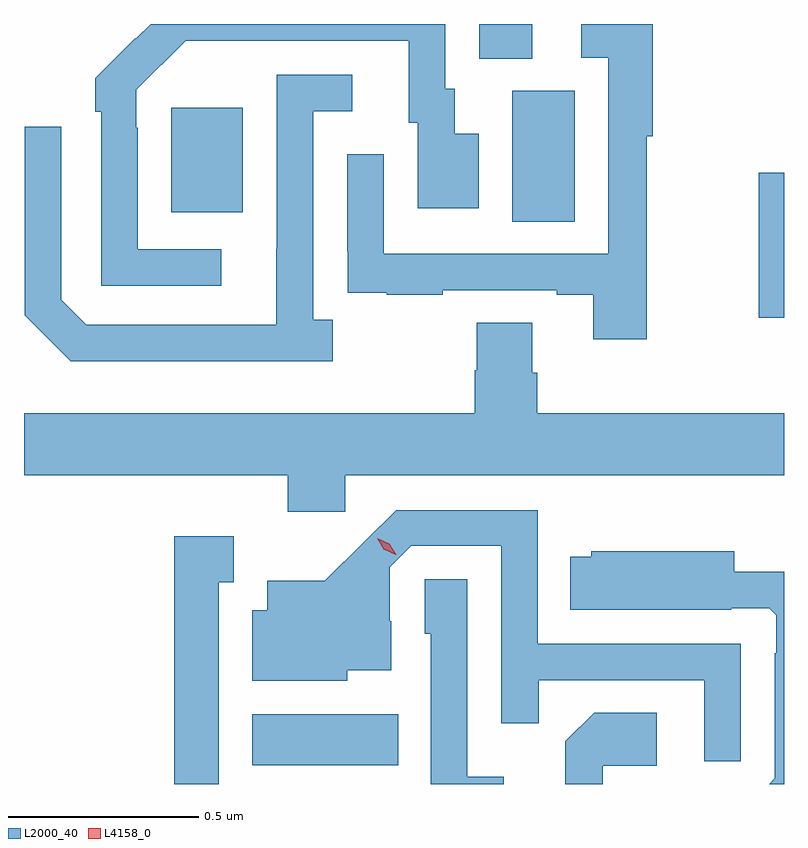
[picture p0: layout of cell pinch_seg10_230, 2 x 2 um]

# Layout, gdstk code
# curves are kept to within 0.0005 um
import gdstk
lib = gdstk.Library(unit=1e-6, precision=1e-09)
def R(c, l, rs):  # rectangles x0, y0, x1, y1
    for r in rs: c.add(gdstk.rectangle(r[:2], r[2:], *l))
def P(c, l, *ps):  # polygons
    for p in ps: c.add(gdstk.Polygon(p, *l))
L2000_40 = (2000, 40)
L4158_0 = (4158, 0)

pinch_seg10_230 = lib.new_cell('pinch_seg10_230')
R(pinch_seg10_230, L2000_40, [(627.548,1304.882,627.932,1305.016), (628.88,1306.059,628.947,1306.44), (628.232,1306.312,628.396,1306.656), (627.335,1306.337,627.523,1306.612), (628.145,1306.741,628.285,1306.832)])
P(pinch_seg10_230, L2000_40, [(627.466,1306.239),(627.246,1306.239),(627.246,1306.559),(627.243,1306.559),(627.243,1306.659),(627.372,1306.788),(627.959,1306.788),(627.959,1306.572),(627.983,1306.572),(627.983,1306.347),(628.144,1306.347),(628.144,1306.543),(628.081,1306.543),(628.081,1306.662),(628.056,1306.662),(628.056,1306.832),(627.28,1306.832),(627.241,1306.793),(627.24,1306.794),(627.135,1306.689),(627.135,1306.601),(627.15,1306.601),(627.15,1306.143),(627.466,1306.143)],
  [(628.586,1306.536),(628.601,1306.536),(628.601,1306.832),(628.413,1306.832),(628.413,1306.743),(628.485,1306.743),(628.485,1306.227),(627.894,1306.227),(627.894,1306.489),(627.798,1306.489),(627.798,1306.234),(627.799,1306.234),(627.799,1306.125),(627.901,1306.125),(627.901,1306.119),(628.049,1306.119),(628.049,1306.131),(628.349,1306.131),(628.349,1306.119),(628.445,1306.119),(628.445,1306.002),(628.586,1306.002)],
  [(627.76,1306.054),(627.708,1306.054),(627.708,1306.602),(627.811,1306.602),(627.811,1306.698),(627.612,1306.698),(627.612,1306.241),(627.611,1306.241),(627.611,1306.041),(627.111,1306.041),(627.045,1306.107),(627.045,1306.561),(626.949,1306.561),(626.949,1306.065),(627.07,1305.944),(627.76,1305.944)],
  [(627.792,1305.644),(628.947,1305.644),(628.947,1305.808),(628.298,1305.808),(628.298,1305.914),(628.285,1305.914),(628.285,1306.046),(628.138,1306.046),(628.138,1305.921),(628.133,1305.921),(628.133,1305.808),(626.947,1305.808),(626.947,1305.644),(627.641,1305.644),(627.641,1305.549),(627.792,1305.549)],
  [(628.833,1305.201),(628.299,1305.201),(628.299,1305.552),(627.926,1305.552),(627.739,1305.367),(627.587,1305.367),(627.587,1305.289),(627.548,1305.289),(627.548,1305.104),(627.798,1305.104),(627.798,1305.131),(627.913,1305.131),(627.913,1305.26),(627.909,1305.26),(627.909,1305.402),(627.966,1305.459),(628.203,1305.459),(628.203,1304.992),(628.301,1304.992),(628.301,1305.105),(628.737,1305.105),(628.737,1304.892),(628.833,1304.892)],
  [(627.46,1305.363),(627.499,1305.363),(627.499,1305.484),(627.342,1305.484),(627.342,1304.832),(627.46,1304.832)],
  [(628.947,1305.391),(628.816,1305.391),(628.816,1305.445),(628.44,1305.445),(628.44,1305.43),(628.384,1305.43),(628.384,1305.29),(628.808,1305.29),(628.808,1305.294),(628.908,1305.294),(628.926,1305.276),(628.926,1305.176),(628.923,1305.176),(628.923,1304.847),(628.908,1304.832),(628.947,1304.832)],
  [(628.21,1304.851),(628.113,1304.851),(628.113,1305.371),(628.002,1305.371),(628.002,1305.228),(628.017,1305.228),(628.017,1304.832),(628.21,1304.832)],
  [(628.47,1304.88),(628.612,1304.88),(628.612,1305.02),(628.447,1305.02),(628.371,1304.944),(628.371,1304.832),(628.47,1304.832)])
P(pinch_seg10_230, L4158_0, [(627.925,1305.435),(627.894,1305.45),(627.877,1305.479),(627.877,1305.479),(627.877,1305.479),(627.908,1305.464),(627.926,1305.435),(627.926,1305.435)])

lib.write_gds('pinch_seg10_230.gds')
